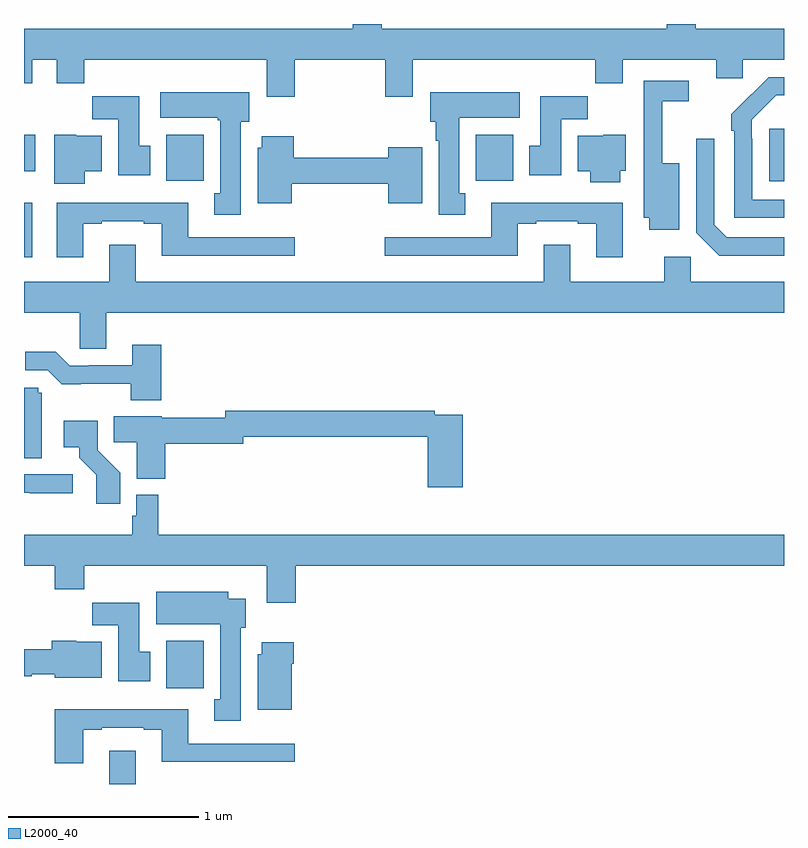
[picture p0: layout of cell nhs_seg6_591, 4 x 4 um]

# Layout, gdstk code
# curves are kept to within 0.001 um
import gdstk
lib = gdstk.Library(unit=1e-6, precision=1e-09)
def R(c, l, rs):  # rectangles x0, y0, x1, y1
    for r in rs: c.add(gdstk.rectangle(r[:2], r[2:], *l))
def P(c, l, *ps):  # polygons
    for p in ps: c.add(gdstk.Polygon(p, *l))
L2000_40 = (2000, 40)

nhs_seg6_591 = lib.new_cell('nhs_seg6_591')
R(nhs_seg6_591, L2000_40, [(147.449,967.5,147.589,967.675), (147.749,968.004,147.945,968.254), (147,970.272,147.043,970.558), (150.923,970.673,151,970.948), (147.749,970.676,147.946,970.918), (149.378,970.676,149.575,970.918), (147,970.724,147.058,970.918)])
P(nhs_seg6_591, L2000_40, [(147,971.188),(147.043,971.188),(147.043,971.312),(147.173,971.312),(147.173,971.188),(147.317,971.188),(147.317,971.312),(148.277,971.312),(148.277,971.118),(148.425,971.118),(148.425,971.312),(148.9,971.312),(148.9,971.118),(149.047,971.118),(149.047,971.312),(150.007,971.312),(150.007,971.188),(150.151,971.188),(150.151,971.312),(150.644,971.312),(150.644,971.214),(150.783,971.214),(150.783,971.312),(151,971.312),(151,971.476),(150.536,971.476),(150.536,971.5),(150.384,971.5),(150.384,971.476),(148.882,971.476),(148.882,971.5),(148.73,971.5),(148.73,971.476),(147,971.476)],
  [(151,970.575),(150.834,970.575),(150.834,970.895),(150.831,970.895),(150.831,970.995),(150.96,971.124),(151,971.124),(151,971.22),(150.92,971.22),(150.723,971.025),(150.723,970.937),(150.738,970.937),(150.738,970.479),(151,970.479)],
  [(150.448,970.768),(150.359,970.768),(150.359,971.094),(150.499,971.094),(150.499,971.202),(150.261,971.202),(150.261,970.481),(150.29,970.481),(150.29,970.416),(150.448,970.416)],
  [(149.323,970.61),(149.29,970.61),(149.29,971.006),(149.608,971.006),(149.608,971.14),(149.138,971.14),(149.138,970.986),(149.168,970.986),(149.168,970.886),(149.183,970.886),(149.183,970.497),(149.323,970.497)],
  [(148.141,970.986),(148.186,970.986),(148.186,971.14),(147.717,971.14),(147.717,971.006),(148.021,971.006),(148.021,970.993),(148.034,970.993),(148.034,970.61),(148.001,970.61),(148.001,970.497),(148.141,970.497)],
  [(149.827,971),(149.966,971),(149.966,971.119),(149.717,971.119),(149.717,970.86),(149.66,970.86),(149.66,970.704),(149.827,970.704)],
  [(147.664,970.86),(147.607,970.86),(147.607,971.119),(147.358,971.119),(147.358,971),(147.497,971),(147.497,970.704),(147.664,970.704)],
  [(147.319,970.724),(147.409,970.724),(147.409,970.912),(147.276,970.912),(147.276,970.918),(147.158,970.918),(147.158,970.659),(147.319,970.659)],
  [(150.139,970.728),(150.166,970.728),(150.166,970.918),(150.048,970.918),(150.048,970.912),(149.915,970.912),(149.915,970.724),(149.981,970.724),(149.981,970.667),(150.139,970.667)],
  [(148.408,970.66),(148.916,970.66),(148.916,970.556),(149.095,970.556),(149.095,970.852),(148.916,970.852),(148.916,970.796),(148.421,970.796),(148.421,970.909),(148.25,970.909),(148.25,970.848),(148.229,970.848),(148.229,970.556),(148.408,970.556)],
  [(151,970.377),(150.699,970.377),(150.633,970.443),(150.633,970.897),(150.537,970.897),(150.537,970.401),(150.658,970.28),(151,970.28)],
  [(147.313,970.449),(147.409,970.449),(147.409,970.461),(147.629,970.461),(147.629,970.449),(147.725,970.449),(147.725,970.28),(148.426,970.28),(148.426,970.377),(147.865,970.377),(147.865,970.558),(147.173,970.558),(147.173,970.272),(147.313,970.272)],
  [(150.151,970.558),(149.459,970.558),(149.459,970.377),(148.899,970.377),(148.899,970.28),(149.599,970.28),(149.599,970.449),(149.695,970.449),(149.695,970.461),(149.915,970.461),(149.915,970.449),(150.011,970.449),(150.011,970.272),(150.151,970.272)],
  [(147.433,969.98),(151,969.98),(151,970.144),(150.51,970.144),(150.51,970.276),(150.371,970.276),(150.371,970.144),(149.875,970.144),(149.875,970.339),(149.735,970.339),(149.735,970.144),(147.589,970.144),(147.589,970.339),(147.449,970.339),(147.449,970.144),(147,970.144),(147,969.98),(147.294,969.98),(147.294,969.79),(147.433,969.79)],
  [(147.722,969.811),(147.569,969.811),(147.569,969.705),(147.34,969.705),(147.34,969.702),(147.24,969.702),(147.167,969.775),(147.006,969.775),(147.006,969.678),(147.126,969.678),(147.199,969.605),(147.562,969.606),(147.562,969.521),(147.722,969.521)],
  [(147.094,969.558),(147.075,969.558),(147.075,969.585),(147,969.585),(147,969.214),(147.094,969.214)],
  [(149.309,969.444),(149.162,969.444),(149.162,969.464),(148.059,969.464),(148.059,969.428),(147.726,969.428),(147.726,969.436),(147.472,969.436),(147.472,969.298),(147.593,969.298),(147.593,969.107),(147.743,969.107),(147.743,969.292),(148.155,969.292),(148.155,969.328),(149.126,969.328),(149.126,969.063),(149.309,969.063)],
  [(147.506,969.138),(147.387,969.257),(147.387,969.412),(147.21,969.412),(147.21,969.272),(147.29,969.272),(147.29,969.217),(147.381,969.127),(147.381,968.976),(147.506,968.976)],
  [(147.256,969.129),(147,969.129),(147,969.033),(147.031,969.033),(147.031,969.031),(147.256,969.031)],
  [(148.43,968.648),(151,968.648),(151,968.812),(147.707,968.812),(147.707,969.022),(147.591,969.022),(147.591,968.913),(147.571,968.913),(147.571,968.812),(147,968.812),(147,968.648),(147.161,968.648),(147.161,968.524),(147.317,968.524),(147.317,968.648),(148.277,968.648),(148.277,968.454),(148.43,968.454)],
  [(148.141,968.322),(148.168,968.322),(148.168,968.476),(148.075,968.476),(148.075,968.512),(147.695,968.512),(147.695,968.342),(148.034,968.342),(148.034,967.945),(148.001,967.945),(148.001,967.833),(148.141,967.833)],
  [(147.664,968.196),(147.607,968.196),(147.607,968.454),(147.358,968.454),(147.358,968.336),(147.497,968.336),(147.497,968.04),(147.664,968.04)],
  [(147.409,968.248),(147.276,968.248),(147.276,968.254),(147.146,968.254),(147.146,968.208),(147,968.208),(147,968.066),(147.042,968.066),(147.042,968.078),(147.162,968.078),(147.162,968.06),(147.409,968.06)],
  [(148.408,968.132),(148.421,968.132),(148.421,968.245),(148.25,968.245),(148.25,968.184),(148.229,968.184),(148.229,967.892),(148.408,967.892)],
  [(147.313,967.785),(147.409,967.785),(147.409,967.797),(147.629,967.797),(147.629,967.785),(147.725,967.785),(147.725,967.616),(148.426,967.616),(148.426,967.713),(147.865,967.713),(147.865,967.894),(147.161,967.894),(147.161,967.608),(147.313,967.608)])

lib.write_gds('nhs_seg6_591.gds')
